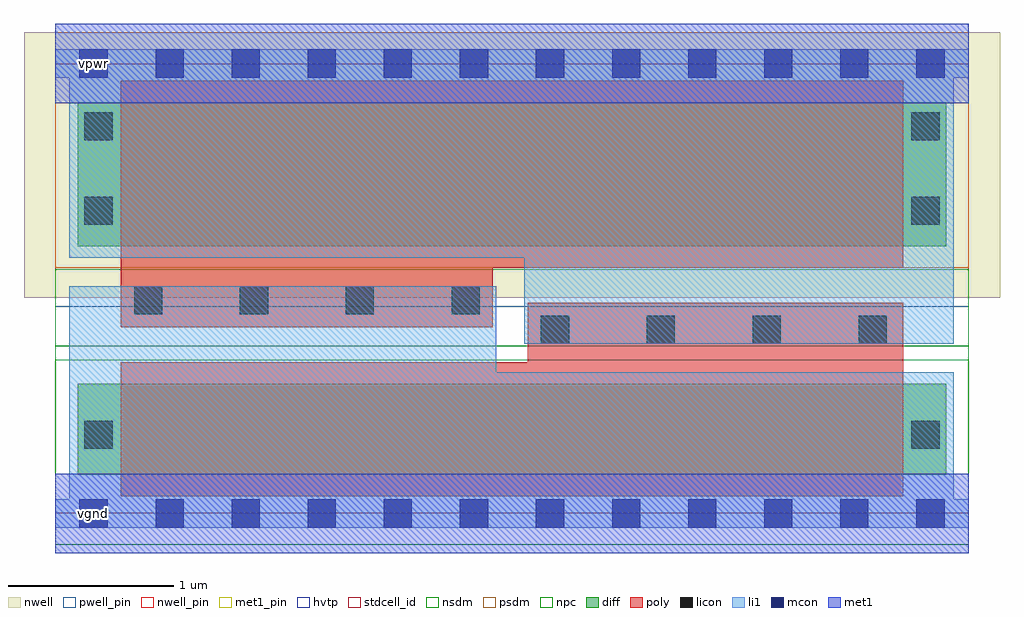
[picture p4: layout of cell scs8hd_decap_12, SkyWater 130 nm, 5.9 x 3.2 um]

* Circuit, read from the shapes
.subckt scs8hd_decap_12 vgnd vnb vpb vpwr
XM1 vgnd vpwr vgnd vnb sky130_fd_pr__nfet_01v8 w=0.55 l=4.73
XM2 vpwr vgnd vpwr vpb sky130_fd_pr__pfet_01v8_hvt w=0.87 l=4.73
.ends

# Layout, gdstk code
import gdstk
lib = gdstk.Library(unit=1e-6, precision=1e-09)
def R(c, l, rs):  # rectangles x0, y0, x1, y1
    for r in rs: c.add(gdstk.rectangle(r[:2], r[2:], *l))
def A(c, l, x, y, w, h, nx, ny, dx, dy):  # array of equal rectangles
    R(c, l, [(x+i*dx, y+j*dy, x+i*dx+w, y+j*dy+h) for i in range(nx) for j in range(ny)])
def P(c, l, *ps):  # polygons
    for p in ps: c.add(gdstk.Polygon(p, *l))
nwell_pin = (64, 16)
nwell = (64, 20)
diff = (65, 20)
poly = (66, 20)
licon = (66, 44)
li1 = (67, 20)
mcon = (67, 44)
met1_pin = (68, 16)
met1 = (68, 20)
hvtp = (78, 44)
stdcell_id = (81, 4)
nsdm = (93, 44)
psdm = (94, 20)
npc = (95, 20)
pwell_pin = (122, 16)

scs8hd_decap_12 = lib.new_cell('scs8hd_decap_12')
R(scs8hd_decap_12, nwell_pin, [(0.145,2.635,0.315,2.805)])
R(scs8hd_decap_12, nwell, [(-0.19,1.305,5.71,2.91)])
R(scs8hd_decap_12, diff, [(0.135,0.235,5.385,0.785), (0.135,1.615,5.385,2.485)])
P(scs8hd_decap_12, poly, [(5.125,2.615),(0.395,2.615),(0.395,1.125),(2.645,1.125),(2.645,1.485),(5.125,1.485)],
  [(5.125,1.275),(2.855,1.275),(2.855,0.915),(0.395,0.915),(0.395,0.105),(5.125,0.105)])
A(scs8hd_decap_12, licon, 2.935, 1.025, 0.17, 0.17, 4, 1, 0.64, 0)
A(scs8hd_decap_12, licon, 0.475, 1.205, 0.17, 0.17, 4, 1, 0.64, 0)
R(scs8hd_decap_12, licon, [(0.175,0.39,0.345,0.56), (5.175,0.39,5.345,0.56), (0.175,1.745,0.345,1.915), (5.175,1.745,5.345,1.915), (0.175,2.255,0.345,2.425), (5.175,2.255,5.345,2.425)])
P(scs8hd_decap_12, li1, [(5.52,0.085),(5.43,0.085),(5.43,0.855),(2.665,0.855),(2.665,1.375),(0.085,1.375),(0.085,0.085),(0,0.085),(0,-0.085),(5.52,-0.085)],
  [(5.52,2.805),(0,2.805),(0,2.635),(0.085,2.635),(0.085,1.545),(2.835,1.545),(2.835,1.025),(5.43,1.025),(5.43,2.635),(5.52,2.635)])
A(scs8hd_decap_12, mcon, 0.145, -0.085, 0.17, 0.17, 12, 2, 0.46, 2.72)
R(scs8hd_decap_12, met1_pin, [(0.145,-0.085,0.315,0.085), (0.145,2.635,0.315,2.805)])
R(scs8hd_decap_12, hvtp, [(0,1.25,5.52,2.72)])
R(scs8hd_decap_12, stdcell_id, [(0,0,5.52,2.72)])
R(scs8hd_decap_12, nsdm, [(0,-0.19,5.52,1.015)])
R(scs8hd_decap_12, psdm, [(0,1.485,5.52,2.91)])
R(scs8hd_decap_12, npc, [(0,0.925,5.52,1.475)])
R(scs8hd_decap_12, pwell_pin, [(0.145,-0.085,0.315,0.085)])
scs8hd_decap_12.add(gdstk.FlexPath([(0,2.72),(5.52,2.72)], 0.48, ends="flush", simple_path=True, layer=68, datatype=20))  # met1
scs8hd_decap_12.add(gdstk.FlexPath([(0,0),(5.52,0)], 0.48, ends="flush", simple_path=True, layer=68, datatype=20))  # met1
scs8hd_decap_12.add(gdstk.Label('vgnd', (0.23,0), layer=68, texttype=5))
scs8hd_decap_12.add(gdstk.Label('vpwr', (0.23,2.72), layer=68, texttype=5))
scs8hd_decap_12.add(gdstk.Label('vpb', (0.23,2.72), layer=64, texttype=5))
scs8hd_decap_12.add(gdstk.Label('vnb', (0.23,0), layer=64, texttype=59))
scs8hd_decap_12.add(gdstk.Label('scs8hd_decap_12', (0,0), layer=83, texttype=44))

lib.write_gds('scs8hd_decap_12.gds')
